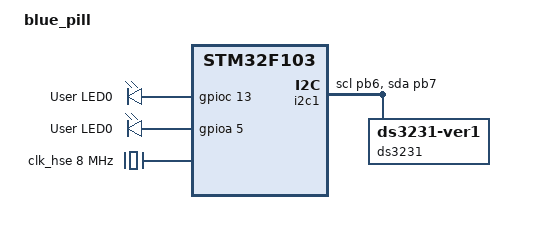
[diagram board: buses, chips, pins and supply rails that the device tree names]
/*
 * Copyright (c) 2023 Quasal
 *
 * SPDX-License-Identifier: Apache-2.0
 */

/dts-v1/;
#include <st/f1/stm32f103X8.dtsi>
#include <st/f1/stm32f103c(8-b)tx-pinctrl.dtsi>

/ {
    model = "blue_pill";
    compatible = "st,stm32f103";

    chosen {
        zephyr,sram = &sram0;
        zephyr,flash = &flash0;
    };
};

&clk_hse {
    clock-frequency = <DT_FREQ_M(8)>;
    status = "okay";
};

&pll {
    mul = <9>;
    clocks = <&clk_hse>;
    status = "okay";
};

&rcc {
    clocks = <&pll>;
    clock-frequency = <DT_FREQ_M(72)>;
    ahb-prescaler = <1>;
    apb1-prescaler = <2>;
    apb2-prescaler = <1>;
    status = "okay";
};

/ {
    leds {
        compatible = "gpio-leds";

        green_led_1: led {
            gpios = <&gpioc 13 GPIO_ACTIVE_HIGH>;
            label = "User LED0";
        };
    };
    button {
        compatible = "gpio-leds";
        user_button: led {
            gpios = <&gpioa 5 GPIO_ACTIVE_HIGH>;
            label = "User LED0";
        };
    };
    aliases {
        led0 = &green_led_1;

    };
};

&i2c1 { /* SDA CN5.9=PB9, SCL CN5.10=PB8, ISW CN5.1=D8=PA9 */
    pinctrl-0 = <&i2c1_scl_pb6 &i2c1_sda_pb7>;
    pinctrl-names = "default"; 
	status = "okay";
    ds3231: ds3231 {
        compatible = "zephyr,ds3231-ver1";
        address = <0x68>;
        status = "okay";
    };
};

&gpioc {
    status = "okay";
};
